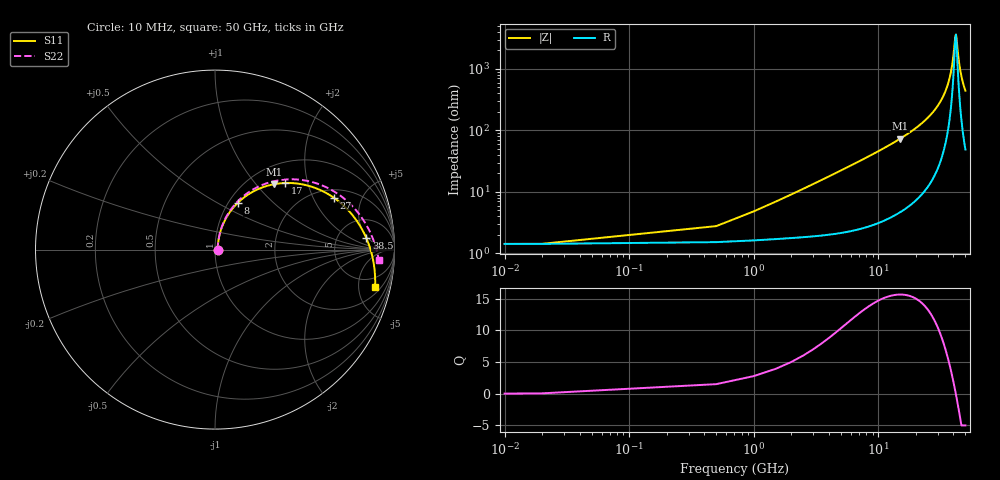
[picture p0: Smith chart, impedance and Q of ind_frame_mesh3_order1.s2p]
! Created with skrf 2.1.0 (http://scikit-rf.org).
# GHz S DB R 50.0
! Port[1] = P1
! Port[2] = P2
!freq dBS11 angS11 dBS21 angS21 dBS12 angS12 dBS22 angS22
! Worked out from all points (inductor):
!   102 points, 10 MHz to 50 GHz, reference 50 ohm
!   read as 1/Y11, port 2 shorted: L = 707 pH near 1.5 GHz
!   highest Q = 15.7 at 15 GHz (marker M1), where L = 778 pH
!   self-resonance near 41.5 GHz
!   S11 on the Smith chart (normalised r, x): 10 MHz: 1.03, +0.00; 8 GHz: 1.10, +0.63; 17 GHz: 1.40, +1.46; 27 GHz: 2.41, +2.91; 38.5 GHz: 10, +4; 50 GHz: 2.98, -7.61
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0.01  -37.05 1.8  -0.12 -0.0  -0.12 -0.0  -37.05 1.8
0.5  -32.11 51.7  -0.13 -1.5  -0.13 -1.5  -32.10 51.8
1  -27.58 65.3  -0.15 -2.9  -0.15 -2.9  -27.57 65.5
1.5  -24.48 70.3  -0.17 -4.3  -0.17 -4.3  -24.48 70.5
2  -22.17 72.4  -0.19 -5.6  -0.19 -5.6  -22.17 72.6
2.5  -20.33 73.2  -0.21 -7.0  -0.21 -7.0  -20.34 73.5
3.5  -17.53 72.9  -0.26 -9.7  -0.26 -9.7  -17.53 73.4
5  -14.56 70.6  -0.35 -13.6  -0.35 -13.6  -14.57 71.3
6.5  -12.41 67.5  -0.47 -17.5  -0.47 -17.5  -12.42 68.4
8  -10.75 64.0  -0.62 -21.4  -0.62 -21.4  -10.76 65.3
8.5  -10.27 62.8  -0.67 -22.6  -0.67 -22.6  -10.29 64.2
11.5  -8.00 55.8  -1.04 -29.9  -1.04 -29.9  -8.01 57.6
15  -6.16 47.8  -1.55 -37.9  -1.55 -37.9  -6.17 50.2
17  -5.35 43.4  -1.87 -42.2  -1.87 -42.2  -5.37 46.1
21  -4.11 35.1  -2.57 -50.3  -2.57 -50.3  -4.13 38.5
25.5  -3.10 26.4  -3.44 -58.7  -3.44 -58.7  -3.12 30.7
27  -2.84 23.7  -3.74 -61.4  -3.74 -61.4  -2.85 28.2
33.5  -1.94 12.4  -5.14 -72.2  -5.14 -72.2  -1.95 18.1
38.5  -1.46 4.3  -6.30 -79.8  -6.30 -79.8  -1.47 11.0
42  -1.20 -1.1  -7.17 -84.9  -7.17 -84.9  -1.21 6.3
46  -0.96 -7.1  -8.23 -90.4  -8.23 -90.4  -0.97 1.2
50  -0.77 -13.0  -9.39 -95.8  -9.39 -95.8  -0.77 -3.8
